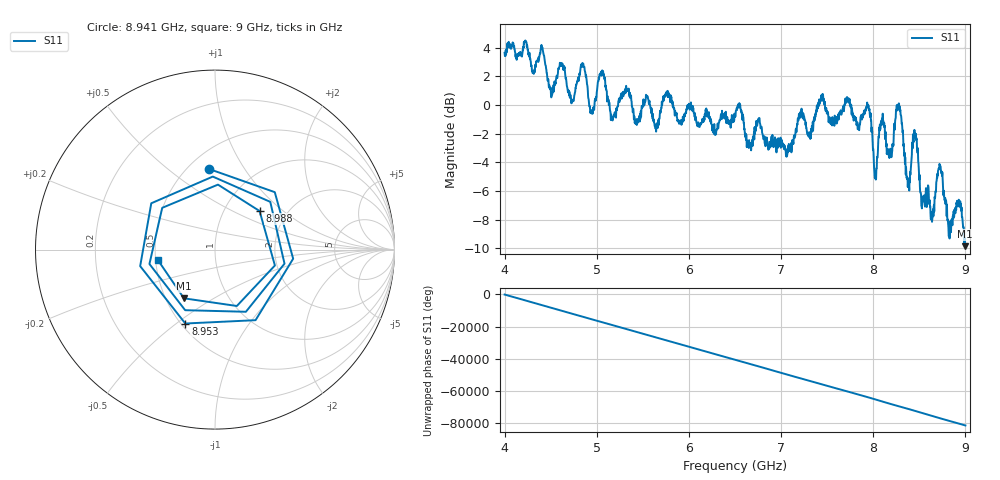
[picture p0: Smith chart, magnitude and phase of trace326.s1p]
! Created with skrf 1.8.0 (http://scikit-rf.org).
# Hz S RI R 50.0
!freq ReS11 ImS11
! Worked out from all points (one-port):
!   1601 points, 4 GHz to 9 GHz, reference 50 ohm
!   lowest |S11| = -9.8 dB at 8.997 GHz (marker M1), VSWR 1.95, Z = 30.9 - j18.7 ohm
!   |S11| at or under -10 dB: nowhere
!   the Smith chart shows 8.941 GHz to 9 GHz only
!   S11 on the Smith chart (normalised r, x): 8.941 GHz: 0.63, +0.71; 8.953 GHz: 0.53, -0.54; 8.988 GHz: 1.46, +0.70; 9 GHz: 0.51, -0.07
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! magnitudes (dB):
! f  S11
! 4 GHz  3.7
! 4.509 GHz  0.6
! 4.625 GHz  2.9
! 4.731 GHz  0.2
! 4.847 GHz  2.8
! 4.944 GHz  -0.4
! 5.053 GHz  2.2
! 5.25 GHz  0.3
! 5.875 GHz  -1.1
! 6.5 GHz  -0.7
! 7.125 GHz  -2.7
! 7.75 GHz  0.1
! 7.95 GHz  0.0
! 8.025 GHz  -5.1
! 8.084 GHz  -1.1
! 8.181 GHz  -3.5
! 8.278 GHz  0.1
! 8.375 GHz  -5.7
! 8.447 GHz  -1.7
! 8.538 GHz  -6.7
! 8.641 GHz  -8.0
! 8.725 GHz  -4.2
! 8.828 GHz  -9.3
! 8.941 GHz  -6.9
! 8.953 GHz  -7.1
! 8.988 GHz  -9.7
! 8.997 GHz  -9.8
! 9 GHz  -9.8
